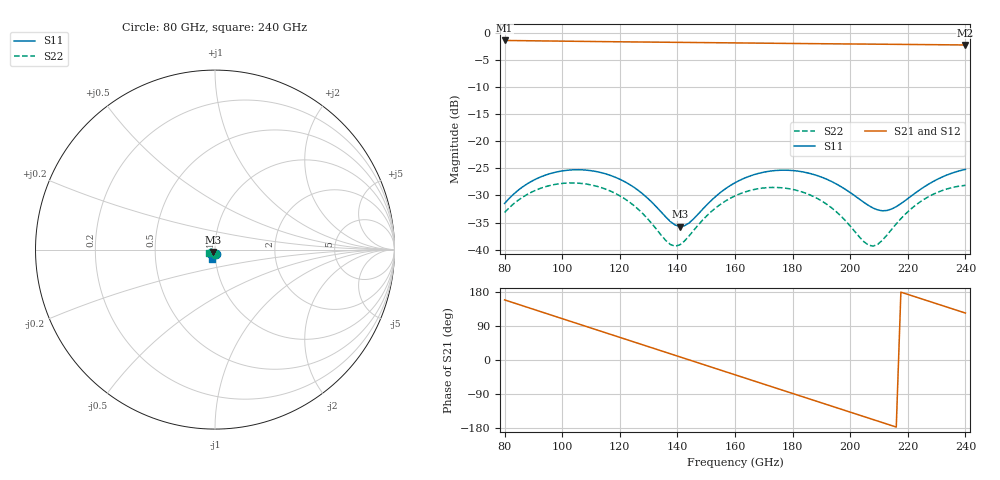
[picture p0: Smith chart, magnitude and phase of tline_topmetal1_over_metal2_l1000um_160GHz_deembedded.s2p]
! Created with skrf 2.0.1 (http://scikit-rf.org).
# GHz S DB R 50.0
!freq dBS11 angS11 dBS21 angS21 dBS12 angS12 dBS22 angS22
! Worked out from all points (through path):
!   101 points, 80 GHz to 240 GHz, reference 50 ohm
!   highest |S21| = -1.38 dB at 80 GHz (marker M1); lowest = -2.2 dB at 240 GHz (marker M2)
!   group delay of S21, straight-line fit = 6.85 ps
!   lowest |S11| = -35.7 dB at 140.8 GHz (marker M3), VSWR 1.03, Z = 49 - j1.28 ohm
!   |S11| at or under -10 dB: start of sweep to end of sweep
!   |S22| runs from -39.4 to -27.7 dB; largest |S21 - S12| = 9.7e-14
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80  -31.46 -79.3  -1.38 158.6  -1.38 158.6  -33.13 -91.3
86.4  -28.36 -86.1  -1.42 142.8  -1.42 142.8  -30.27 -99.7
94.4  -26.20 -100.2  -1.47 123.0  -1.47 123.0  -28.35 -115.8
100.8  -25.41 -112.8  -1.51 107.1  -1.51 107.1  -27.74 -130.0
107.2  -25.28 -125.4  -1.55 91.3  -1.55 91.3  -27.81 -144.2
120  -27.00 -148.1  -1.63 59.7  -1.63 59.7  -30.07 -169.8
126.4  -29.06 -155.7  -1.66 43.9  -1.66 43.9  -32.55 -178.2
134.4  -33.08 -153.2  -1.70 24.2  -1.70 24.2  -37.35 -172.3
137.6  -34.82 -143.3  -1.72 16.3  -1.72 16.3  -39.07 -157.5
140.8  -35.74 -126.7  -1.73 8.4  -1.73 8.4  -39.13 -137.0
144  -35.10 -109.1  -1.75 0.5  -1.75 0.5  -37.51 -121.9
150.4  -31.64 -92.9  -1.78 -15.3  -1.78 -15.3  -33.65 -114.4
160  -27.66 -97.1  -1.83 -39.0  -1.83 -39.0  -30.08 -125.5
168  -25.95 -108.1  -1.87 -58.7  -1.87 -58.7  -28.76 -140.2
174.4  -25.38 -118.1  -1.91 -74.5  -1.91 -74.5  -28.53 -152.8
187.2  -26.11 -137.1  -1.97 -106.0  -1.97 -106.0  -30.18 -176.5
196.8  -28.37 -145.8  -2.01 -129.7  -2.01 -129.7  -33.82 173.4
206.4  -31.86 -137.8  -2.06 -153.3  -2.06 -153.3  -39.19 -162.2
209.6  -32.68 -128.1  -2.07 -161.2  -2.07 -161.2  -39.01 -141.8
214.4  -32.50 -110.8  -2.09 -173.0  -2.09 -173.0  -36.26 -123.5
227.2  -27.92 -95.4  -2.15 155.4  -2.15 155.4  -30.23 -128.7
240  -25.19 -107.5  -2.21 123.9  -2.21 123.9  -28.13 -151.8
